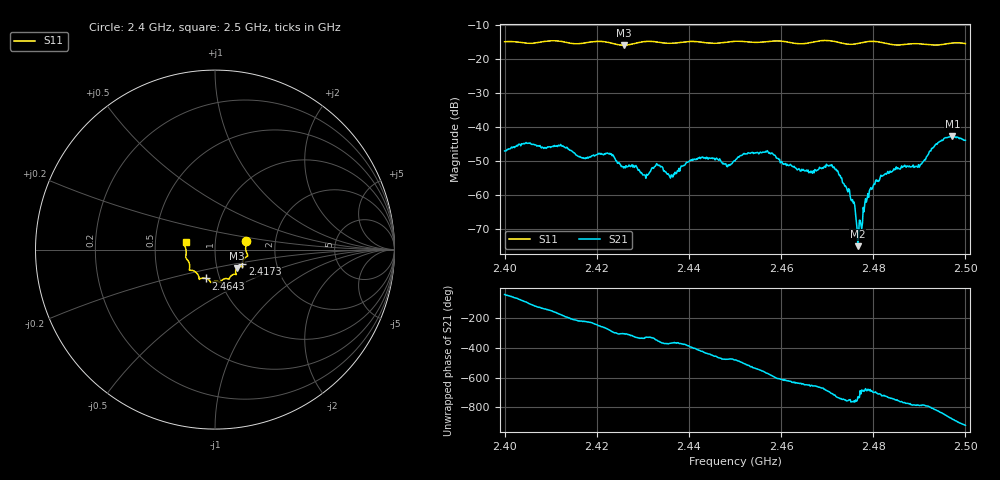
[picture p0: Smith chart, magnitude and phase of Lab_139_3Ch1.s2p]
# Hz S RI R 50
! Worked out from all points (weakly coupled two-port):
!   601 points, 2.4 GHz to 2.5 GHz, reference 50 ohm
!   highest |S21| = -42.78 dB at 2.4972 GHz (marker M1); lowest = -75.2 dB at 2.4767 GHz (marker M2)
!   lowest |S11| = -15.9 dB at 2.4258 GHz (marker M3), VSWR 1.38, Z = 62.3 - j13.3 ohm
!   |S11| at or under -10 dB: start of sweep to end of sweep
!   S12 and S22 are empty: the file has one direction only
!   S11 on the Smith chart (normalised r, x): 2.4 GHz: 1.41, +0.14; 2.4173 GHz: 1.34, -0.23; 2.4643 GHz: 0.86, -0.28; 2.5 GHz: 0.72, +0.06
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2.4e9  0.1733 0.0491  0.00312 -0.00313  0 0  0 0
2.412167e9  0.1788 -0.0378  -0.00551 -0.000142  0 0  0 0
2.416667e9  0.1528 -0.0745  -0.00261 0.00238  0 0  0 0
2.417333e9  0.152 -0.082  -0.00243 0.00247  0 0  0 0
2.422667e9  0.1478 -0.0945  0.000752 0.00391  0 0  0 0
2.425833e9  0.1217 -0.1038  0.00149 0.00198  0 0  0 0
2.4305e9  0.1181 -0.1378  0.0017 0.000922  0 0  0 0
2.433333e9  0.1127 -0.1371  0.00269 0.000143  0 0  0 0
2.436333e9  0.0917 -0.1447  0.0019 -0.000292  0 0  0 0
2.4425e9  0.0721 -0.1631  0.0016 -0.003  0 0  0 0
2.45e9  0.0291 -0.181  -0.0017 -0.00265  0 0  0 0
2.457e9  -0.014 -0.1804  -0.00381 0.00232  0 0  0 0
2.464333e9  -0.0498 -0.1607  0.000347 0.00221  0 0  0 0
2.466667e9  -0.0759 -0.1594  0.00078 0.00197  0 0  0 0
2.472e9  -0.0883 -0.1564  0.00234 -0.000362  0 0  0 0
2.475333e9  -0.1097 -0.1236  0.000615 -0.000532  0 0  0 0
2.476667e9  -0.1231 -0.1169  0.000172 -2.55e-05  0 0  0 0
2.479667e9  -0.1429 -0.114  0.00101 0.000644  0 0  0 0
2.483333e9  -0.1409 -0.0897  0.002 -0.000507  0 0  0 0
2.49e9  -0.1631 -0.0407  0.00096 -0.00236  0 0  0 0
2.497167e9  -0.1701 0.0276  -0.00675 -0.00268  0 0  0 0
2.5e9  -0.164 0.0427  -0.00592 0.00219  0 0  0 0
